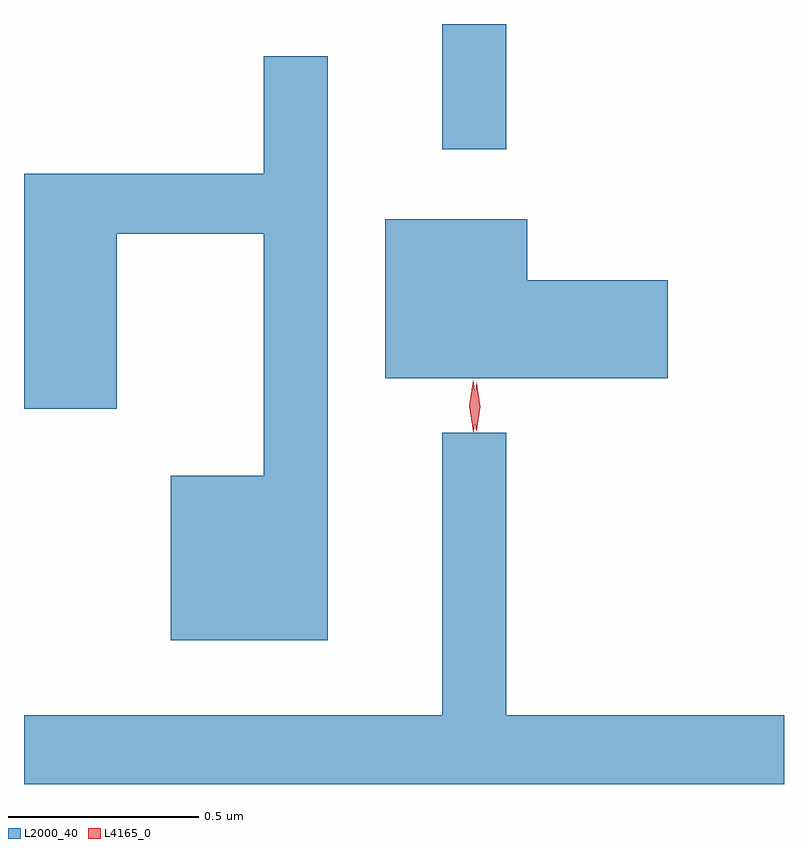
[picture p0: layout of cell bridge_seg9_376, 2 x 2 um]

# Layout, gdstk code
import gdstk
lib = gdstk.Library(unit=1e-6, precision=1e-09)
def R(c, l, rs):  # rectangles x0, y0, x1, y1
    for r in rs: c.add(gdstk.rectangle(r[:2], r[2:], *l))
def P(c, l, *ps):  # polygons
    for p in ps: c.add(gdstk.Polygon(p, *l))
L2000_40 = (2000, 40)
L4165_0 = (4165, 0)

bridge_seg9_376 = lib.new_cell('bridge_seg9_376')
R(bridge_seg9_376, L2000_40, [(747.331,1946.953,747.499,1947.283)])
P(bridge_seg9_376, L2000_40, [(747.029,1947.198),(746.861,1947.198),(746.861,1946.889),(746.23,1946.889),(746.23,1946.271),(746.474,1946.271),(746.474,1946.731),(746.861,1946.731),(746.861,1946.094),(746.616,1946.094),(746.616,1945.661),(747.029,1945.661)],
  [(747.924,1946.609),(747.554,1946.609),(747.554,1946.769),(747.181,1946.769),(747.181,1946.351),(747.924,1946.351)],
  [(748.23,1945.464),(747.499,1945.464),(747.499,1946.208),(747.331,1946.208),(747.331,1945.464),(746.23,1945.464),(746.23,1945.283),(748.23,1945.283)])
P(bridge_seg9_376, L4165_0, [(747.412,1946.21),(747.412,1946.21),(747.402,1946.278),(747.412,1946.346),(747.412,1946.346),(747.412,1946.346),(747.422,1946.278),(747.413,1946.21)],
  [(747.42,1946.213),(747.42,1946.213),(747.411,1946.276),(747.422,1946.339),(747.422,1946.34),(747.422,1946.339),(747.431,1946.276),(747.421,1946.213)])

lib.write_gds('bridge_seg9_376.gds')
